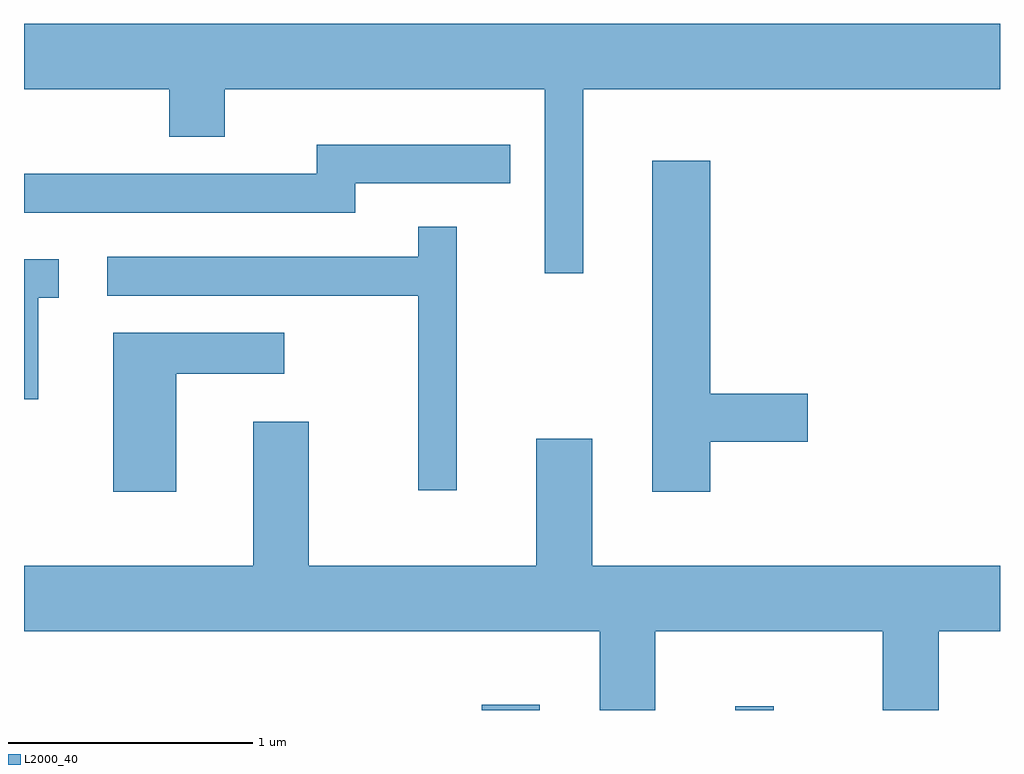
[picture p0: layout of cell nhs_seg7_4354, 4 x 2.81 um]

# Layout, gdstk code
import gdstk
lib = gdstk.Library(unit=1e-6, precision=1e-09)
def R(c, l, rs):  # rectangles x0, y0, x1, y1
    for r in rs: c.add(gdstk.rectangle(r[:2], r[2:], *l))
def P(c, l, *ps):  # polygons
    for p in ps: c.add(gdstk.Polygon(p, *l))
L2000_40 = (2000, 40)

nhs_seg7_4354 = lib.new_cell('nhs_seg7_4354')
R(nhs_seg7_4354, L2000_40, [(321.486,1676.252,321.724,1676.274), (322.526,1676.252,322.684,1676.268)])
P(nhs_seg7_4354, L2000_40, [(321.904,1678.796),(323.611,1678.796),(323.611,1679.064),(319.611,1679.064),(319.611,1678.796),(320.206,1678.796),(320.206,1678.601),(320.434,1678.601),(320.434,1678.796),(321.746,1678.796),(321.746,1678.043),(321.904,1678.043)],
  [(320.969,1678.411),(321.603,1678.411),(321.603,1678.569),(320.811,1678.569),(320.811,1678.449),(319.611,1678.449),(319.611,1678.291),(320.969,1678.291)],
  [(322.424,1677.351),(322.824,1677.351),(322.824,1677.549),(322.424,1677.549),(322.424,1678.504),(322.186,1678.504),(322.186,1677.146),(322.424,1677.146)],
  [(321.384,1678.233),(321.226,1678.233),(321.226,1678.109),(319.953,1678.109),(319.953,1677.951),(321.226,1677.951),(321.226,1677.153),(321.384,1677.153)],
  [(319.669,1677.941),(319.753,1677.941),(319.753,1678.099),(319.611,1678.099),(319.611,1677.526),(319.669,1677.526)],
  [(320.234,1677.631),(320.678,1677.631),(320.678,1677.799),(319.976,1677.799),(319.976,1677.146),(320.234,1677.146)],
  [(322.199,1676.576),(323.131,1676.576),(323.131,1676.252),(323.359,1676.252),(323.359,1676.576),(323.611,1676.576),(323.611,1676.844),(321.939,1676.844),(321.939,1677.364),(321.711,1677.364),(321.711,1676.844),(320.779,1676.844),(320.779,1677.434),(320.551,1677.434),(320.551,1676.844),(319.611,1676.844),(319.611,1676.576),(321.971,1676.576),(321.971,1676.252),(322.199,1676.252)])

lib.write_gds('nhs_seg7_4354.gds')
